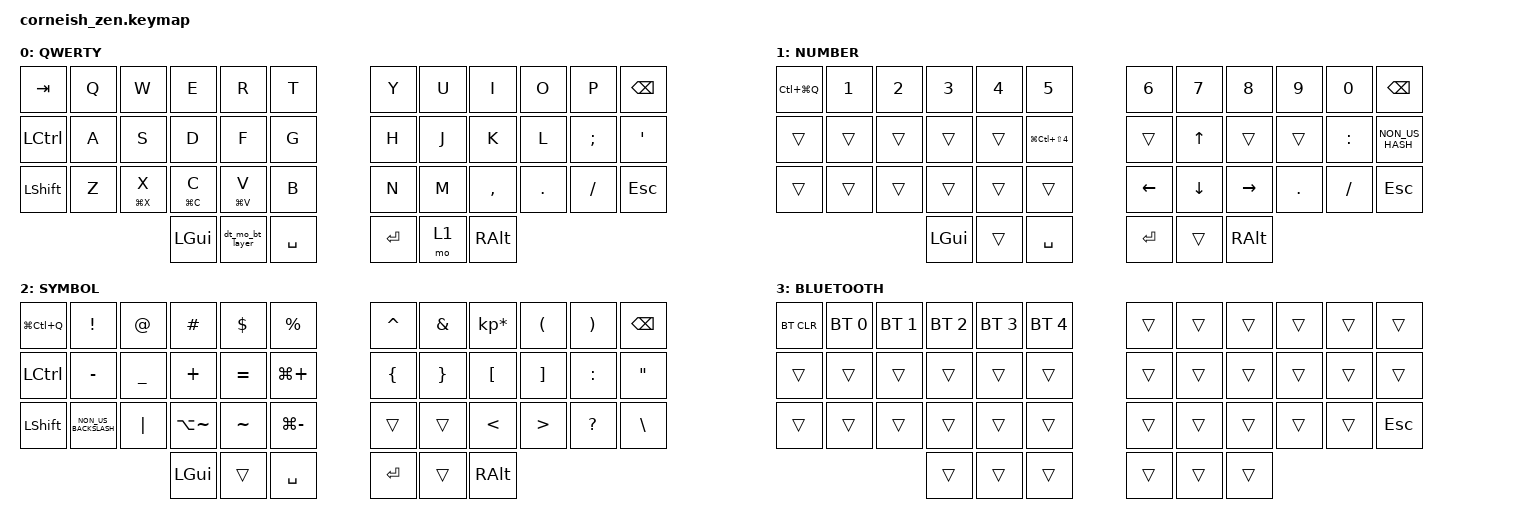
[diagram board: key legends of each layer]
/*
*
* Copyright (c) 2021 Darryl deHaan
* SPDX-License-Identifier: MIT
*
*/

#include <behaviors.dtsi>
#include <dt-bindings/zmk/bt.h>
#include <dt-bindings/zmk/keys.h>

/ {
    chosen { zmk,matrix_transform = &default_transform; };
};

/ {
};

/ {
    behaviors {
        dt_mo_bt_layer: tap_dance {
            compatible = "zmk,behavior-tap-dance";
            #binding-cells = <0>;
            tapping-term-ms = <200>;
            bindings = <&mo 2>, <&mo 3>;
        };

        kytp: kytp {
            compatible = "zmk,behavior-hold-tap";
            label = "KYTP";
            bindings = <&kp>, <&kp>;

            #binding-cells = <2>;
            tapping-term-ms = <300>;
            flavor = "tap-preferred";
        };
    };

    keymap {
        compatible = "zmk,keymap";

        default_layer {
            label = "QWERTY";
            bindings = <
&kp TAB    &kp Q  &kp W          &kp E          &kp R            &kp T        &kp Y    &kp U  &kp I      &kp O    &kp P     &kp BSPC
&kp LCTRL  &kp A  &kp S          &kp D          &kp F            &kp G        &kp H    &kp J  &kp K      &kp L    &kp SEMI  &kp SQT
&kp LSHFT  &kp Z  &kytp LG(X) X  &kytp LG(C) C  &kytp LG(V) V    &kp B        &kp N    &kp M  &kp COMMA  &kp DOT  &kp FSLH  &kp ESCAPE
                                 &kp LGUI       &dt_mo_bt_layer  &kp SPACE    &kp RET  &mo 1  &kp RALT
            >;
        };

        lower_layer {
            label = "NUMBER";
            bindings = <
&kp LC(LG(Q))  &kp N1  &kp N2  &kp N3    &kp N4  &kp N5                &kp N6    &kp N7    &kp N8     &kp N9   &kp N0     &kp BSPC
&trans         &trans  &trans  &trans    &trans  &kp LG(LC(LS(N4)))    &trans    &kp UP    &trans     &trans   &kp COLON  &kp NON_US_HASH
&trans         &trans  &trans  &trans    &trans  &trans                &kp LEFT  &kp DOWN  &kp RIGHT  &kp DOT  &kp FSLH   &kp ESCAPE
                               &kp LGUI  &trans  &kp SPACE             &kp RET   &trans    &kp RALT
            >;
        };

        raise_layer {
            label = "SYMBOL";
            bindings = <
&kp LG(LC(Q))  &kp EXCL              &kp AT     &kp HASH       &kp DLLR   &kp PRCNT        &kp CARET  &kp AMPS  &kp KP_MULTIPLY  &kp LPAR  &kp RPAR   &kp BSPC
&kp LCTRL      &kp MINUS             &kp UNDER  &kp PLUS       &kp EQUAL  &kp LG(PLUS)     &kp LBRC   &kp RBRC  &kp LBKT         &kp RBKT  &kp COLON  &kp DQT
&kp LSHFT      &kp NON_US_BACKSLASH  &kp PIPE   &kp LA(TILDE)  &kp TILDE  &kp LG(MINUS)    &trans     &trans    &kp LT           &kp GT    &kp QMARK  &kp BACKSLASH
                                                &kp LGUI       &trans     &kp SPACE        &kp RET    &trans    &kp RALT
            >;
        };

        bt_layer {
            label = "BLUETOOTH";
            bindings = <
&bt BT_CLR  &bt BT_SEL 0  &bt BT_SEL 1  &bt BT_SEL 2  &bt BT_SEL 3  &bt BT_SEL 4    &trans  &trans  &trans  &trans  &trans  &trans
&trans      &trans        &trans        &trans        &trans        &trans          &trans  &trans  &trans  &trans  &trans  &trans
&trans      &trans        &trans        &trans        &trans        &trans          &trans  &trans  &trans  &trans  &trans  &kp ESCAPE
                                        &trans        &trans        &trans          &trans  &trans  &trans
            >;
        };
    };
};
